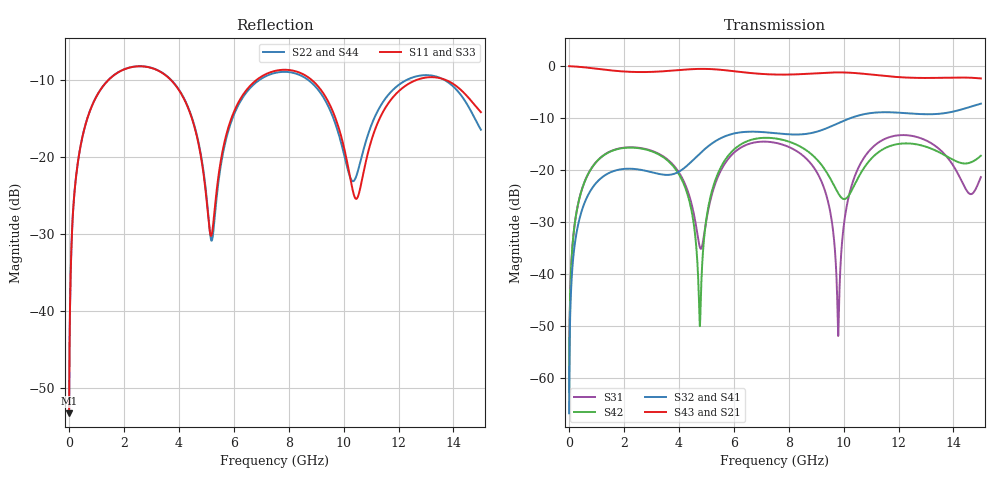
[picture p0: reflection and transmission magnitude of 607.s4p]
! Created with skrf 1.8.0 (http://scikit-rf.org).
# GHz S RI R 50.0
!freq ReS11 ImS11 ReS12 ImS12 ReS13 ImS13
! ReS14 ImS14
! ReS21 ImS21 ReS22 ImS22 ReS23 ImS23
! ReS24 ImS24
! ReS31 ImS31 ReS32 ImS32 ReS33 ImS33
! ReS34 ImS34
! ReS41 ImS41 ReS42 ImS42 ReS43 ImS43
! ReS44 ImS44
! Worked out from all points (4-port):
!   2499 points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, 5 MHz to 15 GHz, reference 50 ohm
!   strongest paths, dB at 5 MHz, 3.476 GHz, 7.19 GHz, 11.1 GHz, 15 GHz:
!     S43: 0.0, -1.0, -1.6, -1.7, -2.4
!     S21: 0.0, -1.0, -1.6, -1.7, -2.4
!     S32: -66.8, -20.9, -12.8, -9.0, -7.2
!     S41: -66.8, -21.0, -12.8, -9.0, -7.2
!     S42: -62.7, -17.7, -13.8, -17.3, -17.3
!     S31: -62.7, -17.5, -14.5, -15.4, -21.4
!   lowest |S11| = -53.3 dB at 5 MHz (marker M1), VSWR 1.00, Z = 50.2 + j0.131 ohm
!   |S11| at or under -10 dB: start of sweep to 1.431 GHz; 3.717 GHz to 6.822 GHz (3.104 GHz wide, 58.9 % of centre); 8.846 GHz to 12.64 GHz (3.791 GHz wide, 35.3 % of centre) (the widest 3 of 4)
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0.005  0.00173 0.00131  0.9982 -0.00336  8.84e-05 0.000723  -8.56e-05 -0.000448
       0.9982 -0.00336  0.00173 0.00131  -8.56e-05 -0.000448  8.84e-05 0.000723
       8.84e-05 0.000723  -8.56e-05 -0.000448  0.00173 0.00131  0.9982 -0.00336
       -8.56e-05 -0.000448  8.84e-05 0.000723  0.9982 -0.00336  0.00173 0.00131
1.519383  0.2781 0.1725  0.5284 -0.7404  0.1389 0.0611  -0.0952 -0.00247
          0.5284 -0.7404  0.2787 0.1721  -0.0952 -0.00236  0.137 0.0637
          0.1389 0.0611  -0.0952 -0.00236  0.2781 0.1726  0.5284 -0.7404
          -0.0952 -0.00247  0.137 0.0637  0.5284 -0.7404  0.2788 0.1721
4.764485  0.0543 -0.0963  -0.8841 -0.3186  -0.0165 -0.00745  -0.0452 0.1367
          -0.8841 -0.3186  0.0529 -0.1002  -0.0436 0.1373  0.00314 9.08e-05
          -0.0165 -0.00745  -0.0436 0.1373  0.0563 -0.0963  -0.8839 -0.3189
          -0.0452 0.1367  0.00314 9.08e-05  -0.8839 -0.3189  0.0514 -0.1015
8.01584  0.3663 -0.0359  -0.0217 0.8286  0.1538 -0.0629  0.2109 -0.0618
         -0.0217 0.8286  0.3555 -0.027  0.2106 -0.0652  0.1559 -0.1038
         0.1538 -0.0629  0.2106 -0.0652  0.3651 -0.0373  -0.0214 0.8289
         0.2109 -0.0618  0.1559 -0.1038  -0.0214 0.8289  0.3552 -0.026
9.804085  0.0995 -0.1237  0.743 0.4515  -0.0025 -0.000388  0.1423 -0.2438
          0.743 0.4515  0.1044 -0.1  0.1368 -0.2469  -0.0496 -0.0334
          -0.0025 -0.000388  0.1368 -0.2469  0.1022 -0.1228  0.7433 0.4511
          0.1423 -0.2438  -0.0496 -0.0334  0.7433 0.4511  0.1013 -0.1017
11.13589  0.1094 0.1018  0.7886 -0.2289  0.1348 0.1079  -0.1287 -0.3332
          0.7886 -0.2289  0.1422 0.114  -0.1358 -0.3296  0.0793 0.1139
          0.1348 0.1079  -0.1358 -0.3296  0.1143 0.0968  0.7888 -0.2293
          -0.1287 -0.3332  0.0793 0.1139  0.7888 -0.2293  0.1356 0.1159
15  0.184 -0.0675  -0.6183 -0.4422  -0.0585 0.0624  -0.2614 0.3473
    -0.6183 -0.4422  0.1415 -0.052  -0.2517 0.3546  -0.1317 0.038
    -0.0585 0.0624  -0.2517 0.3546  0.178 -0.0697  -0.6211 -0.4395
    -0.2614 0.3473  -0.1317 0.038  -0.6211 -0.4395  0.1404 -0.0448
